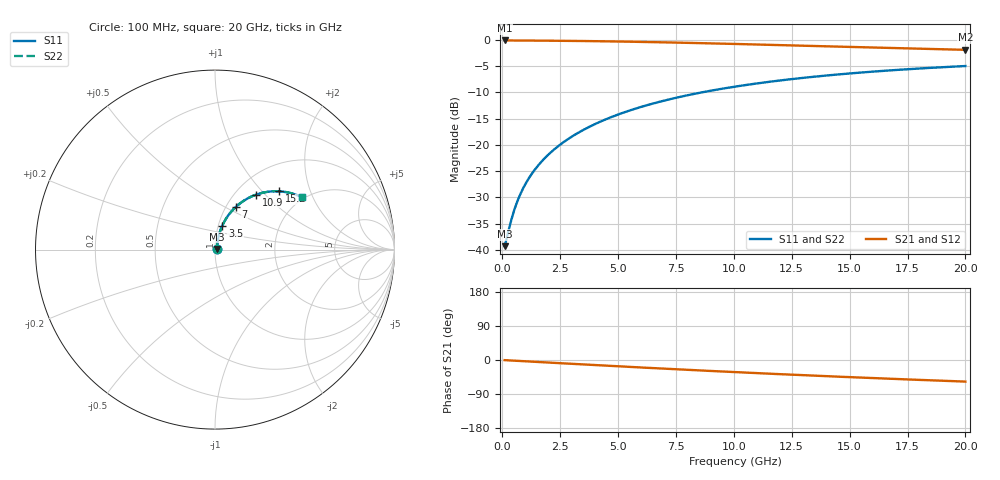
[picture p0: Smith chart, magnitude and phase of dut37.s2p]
! Touchstone file exported from HFSS 2026.1.0
!  File:  C:/ffzhzh/LocalFiles/Ansys_Project_Files/temp_train_TMRDL_37_1782880651_42304.aedt
!  Generated:  12:38:56 PM Jul  1, 2026
!  Design:  TMRDL
!  Project:  temp_train_TMRDL_37_1782880651_42304
! Variables:
!  h_bsmrdl = 2um
!  h_ox = 20um
!  h_rdl = 5um
!  h_sub = 80um
!  h_tmrdl = 2.79um
!  h_tsv = 80um
!  h_via = 3um
!  l_bsmrdl = 300um
!  l_sub = 1248.84um
!  l_tmrdl = 848.84um
!  m_sub = 200um
!  pitch = 36.06um
!  r_tsv = 6um
!  s_tmrdl = 10um
!  w_bsmrdl = 18um
!  w_sub = 500um
!  w_tmrdl = 10.64um
!  x_tsv_center1 = 854.16um
!  x_tsv_center2 = 1172.16um
!  x_tsv_center3 = 2031.64um
!  x_tsv_center4 = 2349.64um
!  x_tsv_center5 = 3209.12um
!  x_tsv_center6 = 3527.12um
# GHz S MA R 50.000000
! Terminal data exported
! Port[1] = TM_RDL1_1_T1
! Port[2] = TM_RDL1_1_T2
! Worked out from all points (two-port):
!   200 points, 100 MHz to 20 GHz, reference 50 ohm
!   highest |S21| = -0.09 dB at 100 MHz (marker M1); lowest = -1.9 dB at 20 GHz (marker M2)
!   |S21| within 3 dB of the highest: start of sweep to end of sweep
!   lowest |S11| = -39.3 dB at 100 MHz (marker M3), VSWR 1.02, Z = 51 + j0.425 ohm
!   |S11| at or under -10 dB: start of sweep to 8.597 GHz
!   |S22| runs from -39.3 to -5.0 dB; largest |S21 - S12| = 3.6e-15
!   S11 on the Smith chart (normalised r, x): 100 MHz: 1.02, +0.01; 3.5 GHz: 1.04, +0.28; 7 GHz: 1.11, +0.57; 10.9 GHz: 1.24, +0.89; 15.2 GHz: 1.48, +1.26; 20 GHz: 1.93, +1.66
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0.1  0.01084 22.6  0.99 -0.3  0.99 -0.3  0.01084 22.6
! Gamma 0 0 0 0
! Port Impedance 50 0 50 0
0.4  0.01968 57.0  0.9896 -1.4  0.9896 -1.4  0.01968 57.0
0.6  0.0271 64.9  0.9891 -2.1  0.9891 -2.1  0.0271 64.9
0.7  0.0309 67.2  0.9888 -2.4  0.9888 -2.4  0.0309 67.2
0.9  0.03858 70.4  0.9883 -3.1  0.9883 -3.1  0.03858 70.4
1.2  0.05018 72.9  0.9875 -4.1  0.9875 -4.1  0.05018 72.9
1.4  0.05794 73.8  0.9869 -4.8  0.9869 -4.8  0.05794 73.8
1.7  0.0696 74.6  0.986 -5.8  0.986 -5.8  0.0696 74.6
2.2  0.08902 74.9  0.9842 -7.4  0.9842 -7.4  0.08902 74.9
2.8  0.1122 74.4  0.9816 -9.4  0.9816 -9.4  0.1122 74.4
3.5  0.139 73.1  0.9779 -11.7  0.9779 -11.7  0.139 73.1
4.2  0.1654 71.5  0.9734 -14.0  0.9734 -14.0  0.1654 71.5
5  0.1948 69.5  0.9676 -16.6  0.9676 -16.6  0.1948 69.5
6.8  0.258 64.5  0.9519 -22.3  0.9519 -22.3  0.258 64.6
7  0.2648 64.0  0.9499 -22.9  0.9499 -22.9  0.2648 64.0
8.5  0.3132 59.8  0.9344 -27.4  0.9344 -27.4  0.3132 59.8
10.1  0.3608 55.3  0.9164 -32.1  0.9164 -32.1  0.3608 55.3
10.9  0.3829 53.1  0.9072 -34.4  0.9072 -34.4  0.3829 53.2
13.4  0.4453 46.6  0.8777 -41.1  0.8777 -41.1  0.4453 46.6
15.2  0.484 42.1  0.8568 -45.7  0.8568 -45.7  0.484 42.1
16.7  0.5126 38.6  0.84 -49.4  0.84 -49.4  0.5126 38.6
20  0.5648 31.2  0.8062 -57.0  0.8062 -57.0  0.5648 31.2
